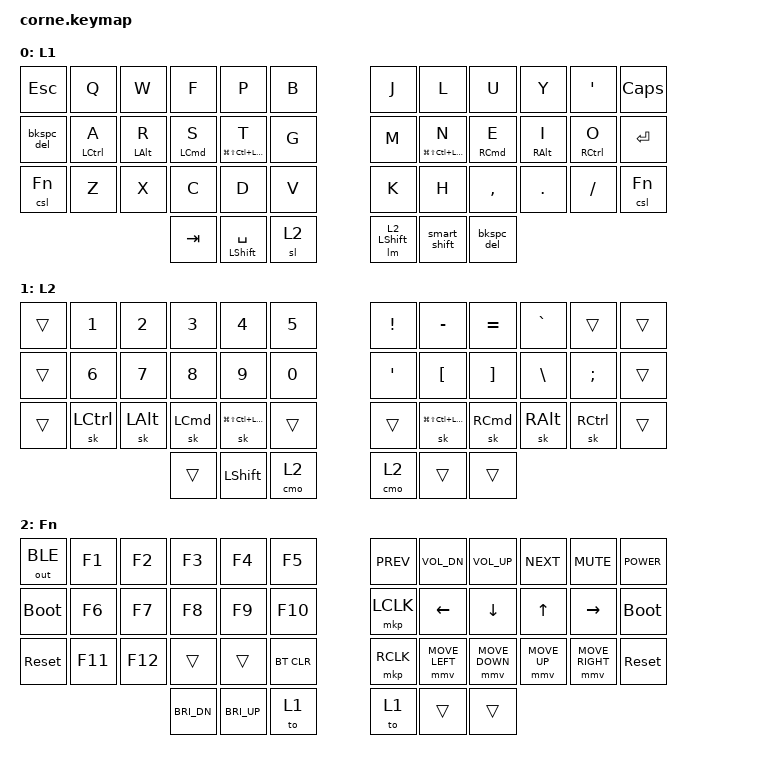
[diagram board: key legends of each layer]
#include <behaviors.dtsi>
#include <dt-bindings/zmk/keys.h>
#include <dt-bindings/zmk/bt.h>
#include <dt-bindings/zmk/outputs.h>
#include <dt-bindings/zmk/pointing.h>


#define L1 0
#define L2 1
#define Fn 2

#define HYPER LG(LS(LC(LALT)))

#include "keys_si.h"
#include "behaviors.dtsi"
#include "macros.dtsi"
#include "combos.dtsi"

/ {
  chosen {
    zmk,matrix_transform = &default_transform;
  };
};

/ {
  keymap {
    compatible = "zmk,keymap";

    layer_1 {
      label = "L1";
      bindings = <
// ╭───────────────┬───────────────┬───────────────┬───────────────┬───────────────┬───────────────╮   ╭───────────────┬───────────────┬───────────────┬───────────────┬───────────────┬───────────────╮
    &kp ESC         &kp Q           &kp W           &kp F           &kp P           &kp B               &kp J           &kp L           &kp U           &kp Y           &kp APOS         &kp CAPSLOCK
// ├───────────────├───────────────┼───────────────┼───────────────┼───────────────┼───────────────┤   ├───────────────├───────────────┼───────────────┼───────────────┼───────────────┼───────────────┤
    &bkspc_del   &mt LCTRL A     &mt LALT R      &mt LCMD S      &mt HYPER T     &kp G               &kp M           &mt HYPER N     &mt RCMD E      &mt RALT I      &mt RCTRL O     &kp ENTER
// ├───────────────├───────────────┼───────────────┼───────────────┼───────────────┼───────────────┤   ├───────────────├───────────────┼───────────────┼───────────────┼───────────────┼───────────────┤
    &csl Fn      &kp Z           &kp X           &kp C           &kp D           &kp V               &kp K           &kp H           &kp COMMA       &kp DOT         &kp SLASH        &csl Fn
// ╰───────────────┴───────────────┴───────────────┼───────────────┼───────────────┼───────────────┤   ├───────────────├───────────────┼───────────────┼───────────────┴───────────────┴───────────────╯
                                                    &kp TAB          &mt LSHFT SPACE &sl L2              &lm L2 LSHIFT          &smart_shift      &bkspc_del
//                                                 ╰───────────────┴───────────────┴───────────────╯   ╰───────────────┴───────────────┴───────────────╯
      >;
    };

    layer_2 {
      label = "L2";
      bindings = <
// ╭───────────────┬───────────────┬───────────────┬───────────────┬───────────────┬───────────────╮   ╭───────────────┬───────────────┬───────────────┬───────────────┬───────────────┬───────────────╮
    &trans          &kp N1          &kp N2          &kp N3          &kp N4          &kp N5              &kp EXCL            &kp MINUS       &kp EQUAL       &kp GRAVE       &trans          &trans
// ├───────────────├───────────────┼───────────────┼───────────────┼───────────────┼───────────────┤   ├───────────────├───────────────┼───────────────┼───────────────┼───────────────┼───────────────┤
    &trans          &kp N6          &kp N7          &kp N8          &kp N9          &kp N0              &kp APOS        &kp LEFT_BRACKET        &kp RIGHT_BRACKET          &kp BACKSLASH       &kp SEMICOLON          &trans
// ├───────────────├───────────────┼───────────────┼───────────────┼───────────────┼───────────────┤   ├───────────────├───────────────┼───────────────┼───────────────┼───────────────┼───────────────┤
    &trans          &sk LCTRL       &sk LALT        &sk LCMD        &sk HYPER       &trans              &trans          &sk HYPER       &sk RCMD        &sk RALT        &sk RCTRL       &trans
// ╰───────────────┴───────────────┴───────────────┼───────────────┼───────────────┼───────────────┤   ├───────────────├───────────────┼───────────────┼───────────────┴───────────────┴───────────────╯
                                                    &trans          &kp LSHFT           &cmo L2             &cmo L2          &trans          &trans
//                                                 ╰───────────────┴───────────────┴───────────────╯   ╰───────────────┴───────────────┴───────────────╯
      >;
    };

    layer_3 {
      label = "Fn";
      bindings = <
// ╭───────────────┬───────────────┬───────────────┬───────────────┬───────────────┬───────────────╮   ╭───────────────┬───────────────┬───────────────┬───────────────┬───────────────┬───────────────╮
    &out OUT_BLE          &kp F1          &kp F2          &kp F3          &kp F4          &kp F5              &kp C_PREV      &kp C_VOL_DN    &kp C_VOL_UP    &kp C_NEXT      &kp C_MUTE          &kp C_POWER
// ├───────────────├───────────────┼───────────────┼───────────────┼───────────────┼───────────────┤   ├───────────────├───────────────┼───────────────┼───────────────┼───────────────┼───────────────┤
    &bootloader      &kp F6          &kp F7          &kp F8          &kp F9          &kp F10             &mkp LCLK        &kp LEFT        &kp DOWN        &kp UP          &kp RIGHT          &bootloader
// ├───────────────├───────────────┼───────────────┼───────────────┼───────────────┼───────────────┤    ├───────────────├───────────────┼───────────────┼───────────────┼───────────────┼───────────────┤
    &sys_reset     &kp F11         &kp F12          &trans          &trans         &bt BT_CLR              &mkp RCLK       &mmv MOVE_LEFT  &mmv MOVE_DOWN  &mmv MOVE_UP    &mmv MOVE_RIGHT &sys_reset
// ╰───────────────┴───────────────┴───────────────┼───────────────┼───────────────┼───────────────┤   ├───────────────├───────────────┼───────────────┼───────────────┴───────────────┴───────────────╯
                                                    &kp C_BRI_DN          &kp C_BRI_UP          &to L1              &to L1          &trans        &trans
//                                                 ╰───────────────┴───────────────┴───────────────╯   ╰───────────────┴───────────────┴───────────────╯
      >;
    };
  };
};
